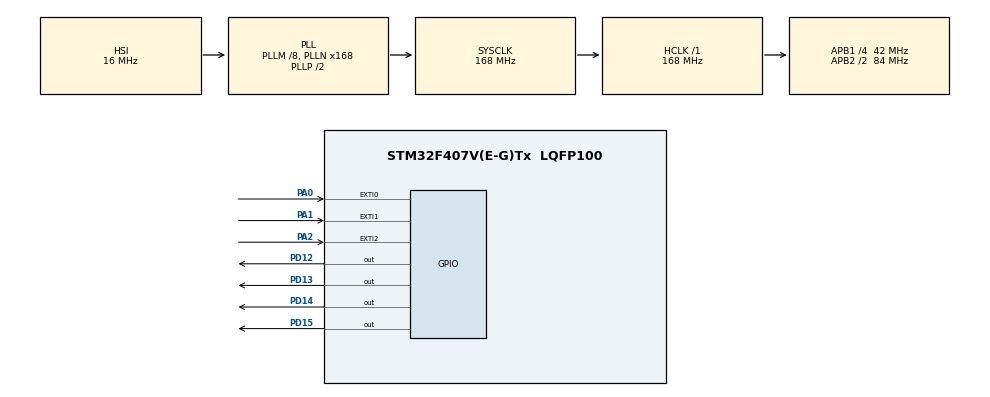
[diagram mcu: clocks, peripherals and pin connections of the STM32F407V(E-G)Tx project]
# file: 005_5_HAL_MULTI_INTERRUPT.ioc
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Mcu.Family=STM32F4
Mcu.Name=STM32F407V(E-G)Tx
Mcu.Package=LQFP100
NVIC.EXTI0_IRQn=true\:0\:0\:false\:false\:true\:true\:true
NVIC.EXTI1_IRQn=true\:0\:0\:false\:false\:true\:true\:true
NVIC.EXTI2_IRQn=true\:0\:0\:false\:false\:true\:true\:true
NVIC.PriorityGroup=NVIC_PRIORITYGROUP_4
PA0-WKUP.GPIO_PuPd=GPIO_PULLDOWN
PA0-WKUP.Signal=GPXTI0
PA1.GPIO_PuPd=GPIO_PULLDOWN
PA1.Signal=GPXTI1
PA2.GPIO_PuPd=GPIO_PULLDOWN
PA2.Signal=GPXTI2
PD12.GPIO_Speed=GPIO_SPEED_FREQ_VERY_HIGH
PD12.PinState=GPIO_PIN_RESET
PD12.Signal=GPIO_Output
PD13.GPIO_Speed=GPIO_SPEED_FREQ_VERY_HIGH
PD13.Signal=GPIO_Output
PD14.GPIO_Speed=GPIO_SPEED_FREQ_VERY_HIGH
PD14.Signal=GPIO_Output
PD15.GPIO_Speed=GPIO_SPEED_FREQ_VERY_HIGH
PD15.Signal=GPIO_Output
PH0-OSC_IN.Mode=HSE-External-Oscillator
PH0-OSC_IN.Signal=RCC_OSC_IN
PH1-OSC_OUT.Mode=HSE-External-Oscillator
PH1-OSC_OUT.Signal=RCC_OSC_OUT
ProjectManager.HeapSize=0x200
ProjectManager.StackSize=0x400
ProjectManager.TargetToolchain=TrueSTUDIO
RCC.48MHZClocksFreq_Value=84000000
RCC.AHBFreq_Value=168000000
RCC.APB1CLKDivider=RCC_HCLK_DIV4
RCC.APB1Freq_Value=42000000
RCC.APB1TimFreq_Value=84000000
RCC.APB2CLKDivider=RCC_HCLK_DIV2
RCC.APB2Freq_Value=84000000
RCC.APB2TimFreq_Value=168000000
RCC.CortexFreq_Value=168000000
RCC.HCLKFreq_Value=168000000
RCC.HSE_VALUE=8000000
RCC.HSI_VALUE=16000000
RCC.PLLM=8
RCC.PLLN=168
RCC.SYSCLKFreq_VALUE=168000000
RCC.SYSCLKSource=RCC_SYSCLKSOURCE_PLLCLK
RCC.VCOOutputFreq_Value=336000000
board=custom

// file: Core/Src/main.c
/* USER CODE BEGIN Header */
/**
  ******************************************************************************
  * @file           : main.c
  * @brief          : Main program body
  ******************************************************************************
  * @attention
  *
  * Copyright (c) 2022 STMicroelectronics.
  * All rights reserved.
  *
  * This software is licensed under terms that can be found in the LICENSE file
  * in the root directory of this software component.
  * If no LICENSE file comes with this software, it is provided AS-IS.
  *
  ******************************************************************************
  */
/* USER CODE END Header */
#include "main.h"

void SystemClock_Config(void);
static void MX_GPIO_Init(void);

/* USER CODE BEGIN 0 */
int counter=0,i=0;
void HAL_GPIO_EXTI_Callback(uint16_t GPIO_Pin){

	i++;

	if( HAL_GPIO_ReadPin(GPIOA,GPIO_PIN_0) ){

	if(i==1){
	counter=1000;
	}
	else if(i==2){
	counter=750;
   }
	else if(i==3){
	counter=500;
     }
	else if(i==4){
	counter=250;
	i=0;
       }
	}

	else if( HAL_GPIO_ReadPin(GPIOA,GPIO_PIN_1) ){
			counter=2000;
	}
	else if( HAL_GPIO_ReadPin(GPIOA,GPIO_PIN_2) ){
				counter=3000;
		}

 }
/* USER CODE END 0 */

int main(void)
{

  /* MCU Configuration--------------------------------------------------------*/

  /* Reset of all peripherals, Initializes the Flash interface and the Systick. */
  HAL_Init();

  /* Configure the system clock */
  SystemClock_Config();

  /* Initialize all configured peripherals */
  MX_GPIO_Init();

  /* Infinite loop */
  while (1)
  {
	  HAL_GPIO_TogglePin(GPIOD,GPIO_PIN_All);
	  HAL_Delay(counter);
  }
}

void SystemClock_Config(void)
{
  RCC_OscInitTypeDef RCC_OscInitStruct = {0};
  RCC_ClkInitTypeDef RCC_ClkInitStruct = {0};

  /** Configure the main internal regulator output voltage
  */
  __HAL_RCC_PWR_CLK_ENABLE();
  __HAL_PWR_VOLTAGESCALING_CONFIG(PWR_REGULATOR_VOLTAGE_SCALE1);
  /** Initializes the RCC Oscillators according to the specified parameters
  * in the RCC_OscInitTypeDef structure.
  */
  RCC_OscInitStruct.OscillatorType = RCC_OSCILLATORTYPE_HSI;
  RCC_OscInitStruct.HSIState = RCC_HSI_ON;
  RCC_OscInitStruct.HSICalibrationValue = RCC_HSICALIBRATION_DEFAULT;
  RCC_OscInitStruct.PLL.PLLState = RCC_PLL_ON;
  RCC_OscInitStruct.PLL.PLLSource = RCC_PLLSOURCE_HSI;
  RCC_OscInitStruct.PLL.PLLM = 8;
  RCC_OscInitStruct.PLL.PLLN = 168;
  RCC_OscInitStruct.PLL.PLLP = RCC_PLLP_DIV2;
  RCC_OscInitStruct.PLL.PLLQ = 4;
  if (HAL_RCC_OscConfig(&RCC_OscInitStruct) != HAL_OK)
  {
    Error_Handler();
  }
  /** Initializes the CPU, AHB and APB buses clocks
  */
  RCC_ClkInitStruct.ClockType = RCC_CLOCKTYPE_HCLK|RCC_CLOCKTYPE_SYSCLK
                              |RCC_CLOCKTYPE_PCLK1|RCC_CLOCKTYPE_PCLK2;
  RCC_ClkInitStruct.SYSCLKSource = RCC_SYSCLKSOURCE_PLLCLK;
  RCC_ClkInitStruct.AHBCLKDivider = RCC_SYSCLK_DIV1;
  RCC_ClkInitStruct.APB1CLKDivider = RCC_HCLK_DIV4;
  RCC_ClkInitStruct.APB2CLKDivider = RCC_HCLK_DIV2;

  if (HAL_RCC_ClockConfig(&RCC_ClkInitStruct, FLASH_LATENCY_5) != HAL_OK)
  {
    Error_Handler();
  }
}

static void MX_GPIO_Init(void)
{
  GPIO_InitTypeDef GPIO_InitStruct = {0};

  /* GPIO Ports Clock Enable */
  __HAL_RCC_GPIOH_CLK_ENABLE();
  __HAL_RCC_GPIOA_CLK_ENABLE();
  __HAL_RCC_GPIOD_CLK_ENABLE();

  /*Configure GPIO pin Output Level */
  HAL_GPIO_WritePin(GPIOD, GPIO_PIN_12|GPIO_PIN_13|GPIO_PIN_14|GPIO_PIN_15, GPIO_PIN_RESET);

  /*Configure GPIO pins : PA0 PA1 PA2 */
  GPIO_InitStruct.Pin = GPIO_PIN_0|GPIO_PIN_1|GPIO_PIN_2;
  GPIO_InitStruct.Mode = GPIO_MODE_IT_RISING;
  GPIO_InitStruct.Pull = GPIO_PULLDOWN;
  HAL_GPIO_Init(GPIOA, &GPIO_InitStruct);

  /*Configure GPIO pins : PD12 PD13 PD14 PD15 */
  GPIO_InitStruct.Pin = GPIO_PIN_12|GPIO_PIN_13|GPIO_PIN_14|GPIO_PIN_15;
  GPIO_InitStruct.Mode = GPIO_MODE_OUTPUT_PP;
  GPIO_InitStruct.Pull = GPIO_NOPULL;
  GPIO_InitStruct.Speed = GPIO_SPEED_FREQ_VERY_HIGH;
  HAL_GPIO_Init(GPIOD, &GPIO_InitStruct);

  /* EXTI interrupt init*/
  HAL_NVIC_SetPriority(EXTI0_IRQn, 0, 0);
  HAL_NVIC_EnableIRQ(EXTI0_IRQn);

  HAL_NVIC_SetPriority(EXTI1_IRQn, 0, 0);
  HAL_NVIC_EnableIRQ(EXTI1_IRQn);

  HAL_NVIC_SetPriority(EXTI2_IRQn, 0, 0);
  HAL_NVIC_EnableIRQ(EXTI2_IRQn);

}

void Error_Handler(void)
{
  __disable_irq();
  while (1)
  {
  }
}
